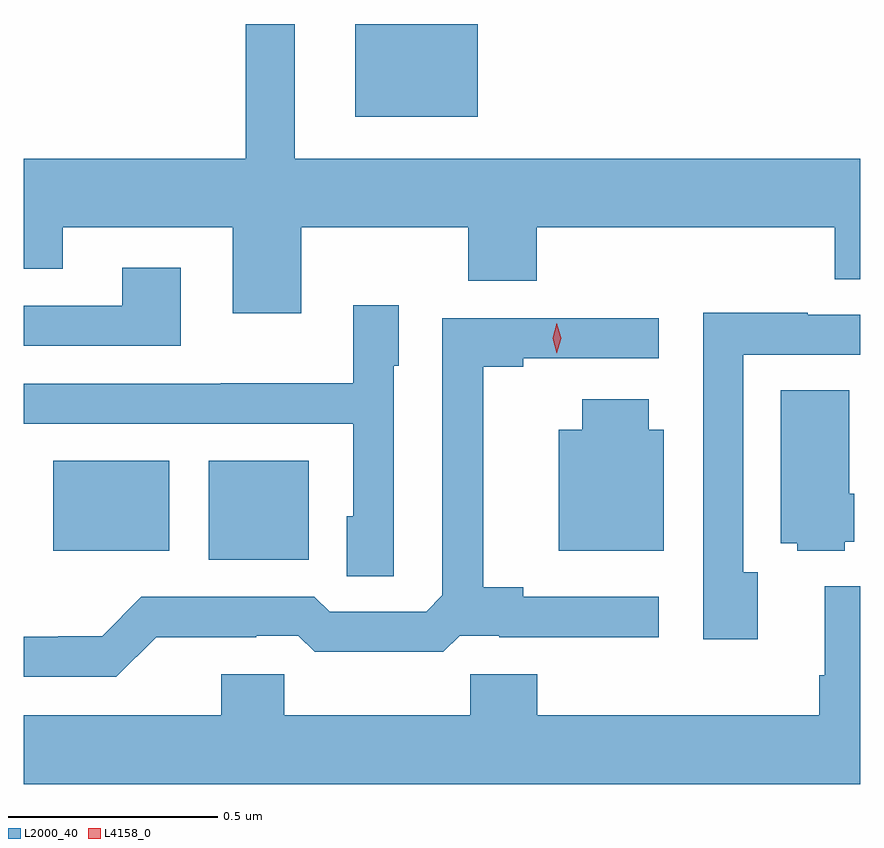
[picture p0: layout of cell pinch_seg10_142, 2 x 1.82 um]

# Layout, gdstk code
import gdstk
lib = gdstk.Library(unit=1e-6, precision=1e-09)
def R(c, l, rs):  # rectangles x0, y0, x1, y1
    for r in rs: c.add(gdstk.rectangle(r[:2], r[2:], *l))
def P(c, l, *ps):  # polygons
    for p in ps: c.add(gdstk.Polygon(p, *l))
L2000_40 = (2000, 40)
L4158_0 = (4158, 0)

pinch_seg10_142 = lib.new_cell('pinch_seg10_142')
R(pinch_seg10_142, L2000_40, [(698.534,1276.877,698.773,1277.113), (698.162,1276.898,698.44,1277.113), (698.885,1277.936,699.178,1278.158)])
P(pinch_seg10_142, L2000_40, [(698.74,1278.158),(698.623,1278.158),(698.623,1277.836),(698.092,1277.836),(698.092,1277.573),(698.185,1277.573),(698.185,1277.672),(698.591,1277.672),(698.591,1277.466),(698.755,1277.466),(698.755,1277.672),(699.155,1277.672),(699.155,1277.544),(699.319,1277.544),(699.319,1277.672),(700.031,1277.672),(700.031,1277.548),(700.092,1277.548),(700.092,1277.836),(698.74,1277.836)],
  [(698.467,1277.575),(698.327,1277.575),(698.327,1277.484),(698.092,1277.484),(698.092,1277.388),(698.467,1277.388)],
  [(698.976,1277.34),(698.989,1277.34),(698.989,1277.485),(698.88,1277.485),(698.88,1277.299),(698.563,1277.299),(698.563,1277.298),(698.092,1277.298),(698.092,1277.202),(698.88,1277.202),(698.88,1276.98),(698.864,1276.98),(698.864,1276.837),(698.976,1276.837)],
  [(699.847,1276.847),(699.813,1276.847),(699.813,1277.367),(700.092,1277.367),(700.092,1277.463),(699.967,1277.463),(699.967,1277.467),(699.717,1277.467),(699.717,1276.686),(699.847,1276.686)],
  [(698.408,1276.691),(698.648,1276.691),(698.648,1276.695),(698.748,1276.695),(698.788,1276.656),(699.095,1276.656),(699.135,1276.695),(699.229,1276.695),(699.229,1276.691),(699.61,1276.691),(699.61,1276.788),(699.286,1276.788),(699.286,1276.811),(699.191,1276.811),(699.191,1277.338),(699.286,1277.338),(699.286,1277.358),(699.61,1277.358),(699.61,1277.454),(699.093,1277.454),(699.093,1276.791),(699.054,1276.752),(698.823,1276.752),(698.787,1276.788),(698.373,1276.788),(698.279,1276.694),(698.174,1276.694),(698.174,1276.692),(698.092,1276.692),(698.092,1276.596),(698.313,1276.596)],
  [(700.056,1276.92),(700.078,1276.92),(700.078,1277.034),(700.066,1277.034),(700.066,1277.282),(699.902,1277.282),(699.902,1276.916),(699.942,1276.916),(699.942,1276.898),(700.056,1276.898)],
  [(699.622,1277.188),(699.586,1277.188),(699.586,1277.26),(699.428,1277.26),(699.428,1277.188),(699.371,1277.188),(699.371,1276.898),(699.622,1276.898)],
  [(700.092,1276.813),(700.007,1276.813),(700.007,1276.6),(699.995,1276.6),(699.995,1276.504),(699.32,1276.504),(699.32,1276.602),(699.16,1276.602),(699.16,1276.504),(698.715,1276.504),(698.715,1276.602),(698.564,1276.602),(698.564,1276.504),(698.092,1276.504),(698.092,1276.34),(700.092,1276.34)])
P(pinch_seg10_142, L4158_0, [(699.367,1277.37),(699.367,1277.37),(699.357,1277.406),(699.367,1277.442),(699.367,1277.442),(699.367,1277.442),(699.377,1277.406),(699.367,1277.37)])

lib.write_gds('pinch_seg10_142.gds')
